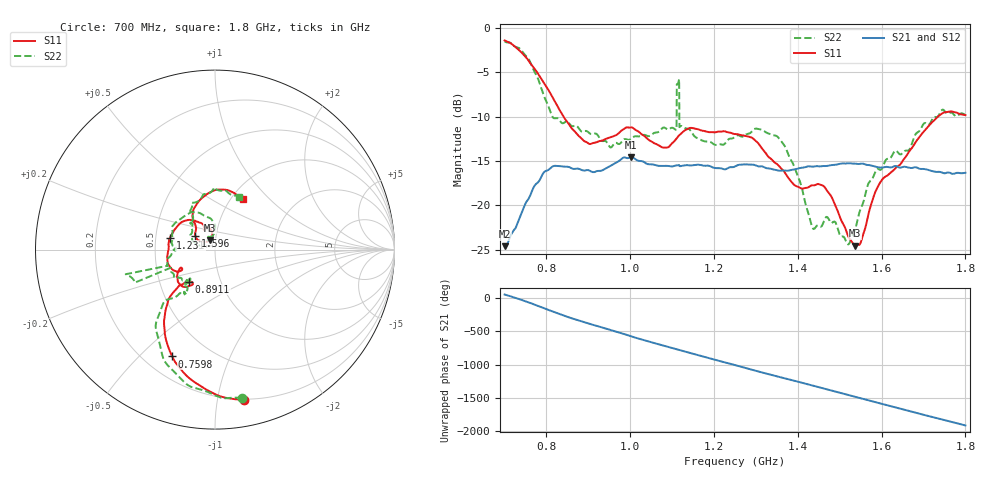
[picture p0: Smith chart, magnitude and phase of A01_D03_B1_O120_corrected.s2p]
! Created with skrf 1.9.0 (http://scikit-rf.org).
# Hz S RI R 50.0
!freq ReS11 ImS11 ReS21 ImS21 ReS12 ImS12 ReS22 ImS22
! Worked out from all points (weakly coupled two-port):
!   1601 points, 700 MHz to 1.8 GHz, reference 50 ohm
!   highest |S21| = -14.59 dB at 1.002 GHz (marker M1); lowest = -24.6 dB at 701.4 MHz (marker M2)
!   lowest |S11| = -24.6 dB at 1.537 GHz (marker M3), VSWR 1.13, Z = 47.2 + j5.04 ohm
!   |S11| at or under -10 dB: 840.5 MHz to 1.734 GHz (893.8 MHz wide, 69.4 % of centre)
!   |S22| runs from -24.4 to -1.5 dB; largest |S21 - S12| = 0.0035
!   S11 on the Smith chart (normalised r, x): 700 MHz: 0.20, -1.19; 759.8 MHz: 0.31, -0.63; 891.1 MHz: 0.71, -0.27; 1.231 GHz: 0.60, +0.08; 1.596 GHz: 0.79, +0.12; 1.8 GHz: 1.12, +0.71
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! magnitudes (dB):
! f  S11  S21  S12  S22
! 700 MHz  -1.4  -24.6  -24.4  -1.5
! 701.4 MHz  -1.4  -24.6  -24.3  -1.5
! 759.8 MHz  -3.9  -19.0  -18.9  -3.7
! 814.8 MHz  -7.8  -15.6  -15.7  -10.1
! 883.6 MHz  -12.4  -16.0  -15.9  -11.7
! 891.1 MHz  -12.8  -16.1  -16.1  -11.6
! 1.002 GHz  -11.2  -14.6  -14.7  -12.5
! 1.067 GHz  -13.2  -15.5  -15.5  -11.7
! 1.105 GHz  -12.8  -15.6  -15.5  -11.4
! 1.117 GHz  -12.1  -15.5  -15.4  -5.7
! 1.123 GHz  -11.9  -15.6  -15.5  -11.1
! 1.231 GHz  -11.7  -15.9  -15.8  -12.7
! 1.25 GHz  -12.0  -15.6  -15.5  -12.3
! 1.355 GHz  -15.6  -16.1  -16.0  -12.5
! 1.434 GHz  -17.8  -15.6  -15.6  -22.4
! 1.474 GHz  -18.6  -15.5  -15.5  -21.6
! 1.52 GHz  -23.4  -15.3  -15.3  -24.4
! 1.537 GHz  -24.6  -15.3  -15.3  -22.8
! 1.596 GHz  -17.5  -15.7  -15.7  -16.0
! 1.617 GHz  -16.5  -15.7  -15.7  -14.8
! 1.738 GHz  -9.9  -16.2  -16.3  -9.7
! 1.8 GHz  -9.8  -16.3  -16.3  -9.8
